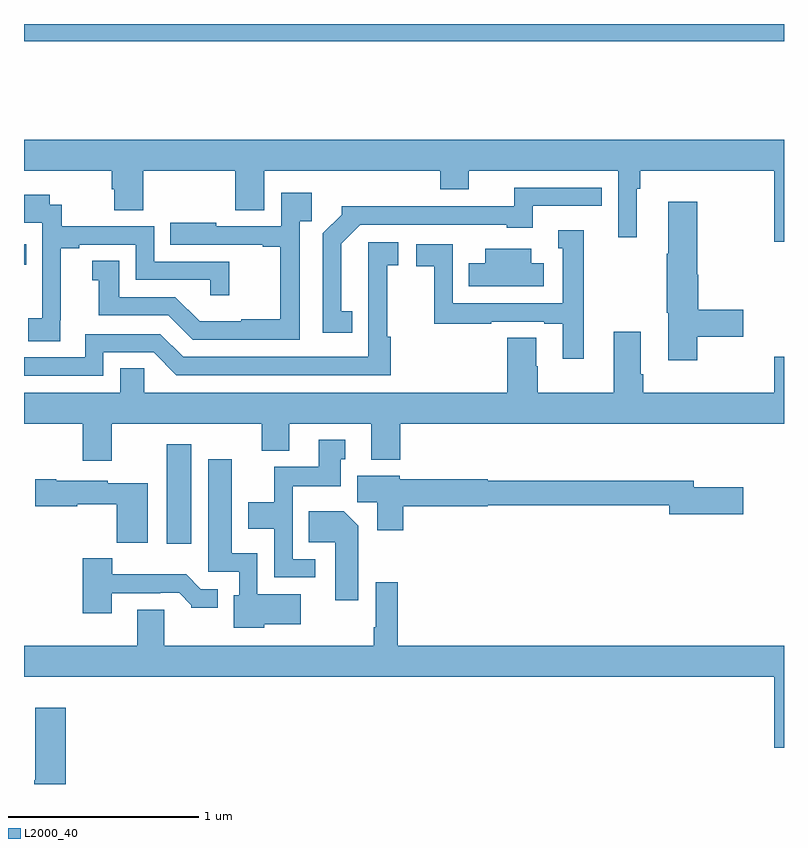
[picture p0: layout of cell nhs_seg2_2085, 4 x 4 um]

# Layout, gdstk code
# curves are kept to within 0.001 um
import gdstk
lib = gdstk.Library(unit=1e-6, precision=1e-09)
def R(c, l, rs):  # rectangles x0, y0, x1, y1
    for r in rs: c.add(gdstk.rectangle(r[:2], r[2:], *l))
def P(c, l, *ps):  # polygons
    for p in ps: c.add(gdstk.Polygon(p, *l))
L2000_40 = (2000, 40)

nhs_seg2_2085 = lib.new_cell('nhs_seg2_2085')
R(nhs_seg2_2085, L2000_40, [(221.75,587.064,221.881,587.587), (221,588.534,221.012,588.642), (221,589.708,225,589.8)])
P(nhs_seg2_2085, L2000_40, [(225,589.192),(221,589.192),(221,589.028),(221.462,589.028),(221.462,588.93),(221.474,588.93),(221.474,588.82),(221.627,588.82),(221.627,589.028),(222.113,589.028),(222.113,588.82),(222.265,588.82),(222.265,589.028),(223.19,589.028),(223.19,588.929),(223.342,588.929),(223.342,589.028),(224.127,589.028),(224.127,588.678),(224.224,588.678),(224.224,588.932),(224.243,588.932),(224.243,589.028),(224.948,589.028),(224.948,588.654),(225,588.654)],
  [(222.728,588.287),(222.67,588.287),(222.67,588.643),(222.771,588.744),(223.542,588.744),(223.542,588.728),(223.678,588.728),(223.678,588.843),(224.042,588.843),(224.042,588.939),(223.579,588.939),(223.579,588.84),(223.106,588.84),(223.106,588.842),(222.672,588.842),(222.672,588.797),(222.573,588.698),(222.573,588.174),(222.728,588.174)],
  [(222.45,588.761),(222.515,588.761),(222.515,588.913),(222.354,588.913),(222.354,588.735),(222.013,588.735),(222.013,588.754),(221.77,588.754),(221.77,588.639),(222.257,588.639),(222.257,588.627),(222.349,588.627),(222.349,588.247),(222.143,588.247),(222.143,588.235),(221.924,588.235),(221.796,588.363),(221.5,588.363),(221.5,588.554),(221.36,588.554),(221.36,588.451),(221.393,588.451),(221.393,588.267),(221.76,588.267),(221.889,588.138),(222.45,588.138)],
  [(221.192,588.241),(221.194,588.241),(221.194,588.619),(221.29,588.619),(221.29,588.639),(221.589,588.639),(221.589,588.453),(221.979,588.453),(221.979,588.372),(222.08,588.372),(222.08,588.549),(221.685,588.549),(221.685,588.735),(221.198,588.735),(221.198,588.849),(221.136,588.849),(221.136,588.901),(221,588.901),(221,588.753),(221.097,588.753),(221.097,588.449),(221.096,588.449),(221.096,588.252),(221.022,588.252),(221.022,588.13),(221.192,588.13)],
  [(224.544,588.154),(224.785,588.154),(224.785,588.296),(224.549,588.296),(224.549,588.479),(224.544,588.479),(224.544,588.865),(224.39,588.865),(224.39,588.59),(224.383,588.59),(224.383,588.279),(224.39,588.279),(224.39,588.03),(224.544,588.03)],
  [(223.945,588.715),(223.811,588.715),(223.811,588.621),(223.836,588.621),(223.836,588.33),(223.257,588.33),(223.257,588.642),(223.065,588.642),(223.065,588.526),(223.159,588.526),(223.159,588.222),(223.46,588.222),(223.46,588.234),(223.739,588.234),(223.739,588.222),(223.835,588.222),(223.835,588.039),(223.945,588.039)],
  [(221.418,588.072),(221.682,588.072),(221.802,587.952),(222.929,587.952),(222.929,588.155),(222.912,588.155),(222.912,588.531),(222.97,588.531),(222.97,588.652),(222.812,588.652),(222.813,588.048),(221.838,588.048),(221.718,588.168),(221.322,588.168),(221.322,588.045),(221,588.045),(221,587.949),(221.418,587.949)],
  [(223.735,588.541),(223.669,588.541),(223.669,588.616),(223.427,588.616),(223.427,588.541),(223.342,588.541),(223.342,588.419),(223.735,588.419)],
  [(221.634,587.987),(221.507,587.987),(221.507,587.86),(221,587.86),(221,587.696),(221.309,587.696),(221.309,587.502),(221.461,587.502),(221.461,587.696),(222.25,587.696),(222.25,587.555),(222.397,587.555),(222.397,587.696),(222.827,587.696),(222.827,587.507),(222.98,587.507),(222.98,587.696),(225,587.696),(225,588.049),(224.948,588.049),(224.948,587.86),(224.258,587.86),(224.258,587.956),(224.245,587.956),(224.245,588.181),(224.105,588.181),(224.105,587.86),(223.704,587.86),(223.704,587.999),(223.696,587.999),(223.696,588.149),(223.544,588.149),(223.544,587.86),(221.634,587.86)],
  [(222.532,586.983),(222.414,586.983),(222.414,587.366),(222.667,587.366),(222.667,587.508),(222.691,587.508),(222.691,587.611),(222.551,587.611),(222.551,587.47),(222.316,587.47),(222.316,587.284),(222.179,587.284),(222.179,587.144),(222.318,587.144),(222.318,586.887),(222.532,586.887)],
  [(222.264,586.64),(222.457,586.64),(222.457,586.798),(222.228,586.798),(222.228,587.014),(222.094,587.014),(222.094,587.509),(221.969,587.509),(221.969,586.917),(222.132,586.917),(222.132,586.794),(222.104,586.794),(222.104,586.622),(222.264,586.622)],
  [(222.995,587.261),(223.44,587.261),(223.44,587.266),(224.396,587.266),(224.396,587.219),(224.785,587.219),(224.785,587.361),(224.524,587.361),(224.524,587.395),(223.44,587.395),(223.44,587.403),(222.978,587.403),(222.978,587.422),(222.755,587.422),(222.755,587.284),(222.86,587.284),(222.86,587.136),(222.995,587.136)],
  [(221.65,587.383),(221.442,587.383),(221.442,587.395),(221.17,587.395),(221.17,587.403),(221.058,587.403),(221.058,587.261),(221.28,587.261),(221.28,587.273),(221.488,587.273),(221.488,587.069),(221.65,587.069)],
  [(222.76,587.158),(222.682,587.236),(222.499,587.236),(222.499,587.072),(222.638,587.072),(222.638,586.767),(222.76,586.767)],
  [(221.461,586.803),(221.717,586.803),(221.717,586.806),(221.816,586.806),(221.88,586.742),(221.88,586.727),(222.019,586.727),(222.019,586.824),(221.931,586.824),(221.853,586.903),(221.464,586.903),(221.464,586.987),(221.309,586.987),(221.309,586.698),(221.461,586.698)],
  [(225,586.528),(222.968,586.528),(222.968,586.861),(222.852,586.861),(222.852,586.624),(222.84,586.624),(222.84,586.528),(221.737,586.528),(221.737,586.718),(221.597,586.718),(221.597,586.528),(221,586.528),(221,586.364),(224.948,586.364),(224.948,585.99),(225,585.99)],
  [(221.219,586.201),(221.06,586.201),(221.06,585.821),(221.053,585.821),(221.053,585.8),(221.219,585.8)])

lib.write_gds('nhs_seg2_2085.gds')
